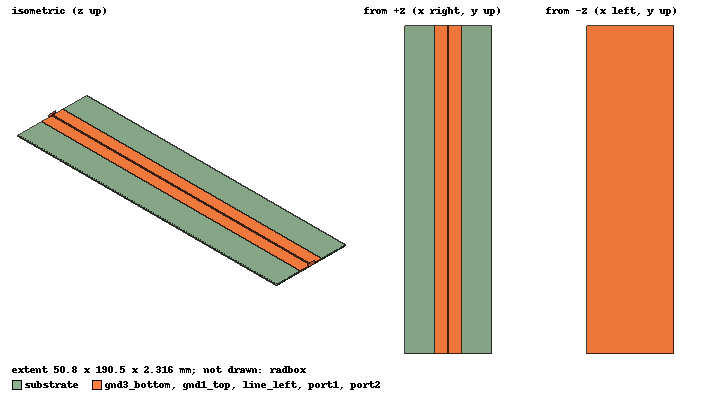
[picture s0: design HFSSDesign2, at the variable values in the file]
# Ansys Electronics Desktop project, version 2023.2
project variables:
  $w = 50.8mm
  $l = 190.5mm
  $w_lin = 0.53789169mm  # optimise 0.52mm..1.56mm
  $h_sig = 0.03556mm
  $w_gnd_top = 7.5mm
  $d = 0.11434763mm  # optimise 0.2mm..0.6mm
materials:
  vacuum: permittivity=1
  FR4_epoxy: permittivity=4.4 dielectric_loss_tangent=0.02
  air: permittivity=1.0006 permeability=1.0000004
  rhodium: conductivity=22200000
  Rogers RO4350 (tm): permittivity=3.66 dielectric_loss_tangent=0.004
  copper: permeability=0.999991 conductivity=58000000

design HFSSDesign2 (HFSS, HFSS Modal Network, model units mm)
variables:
  w = 50.8mm
  l = 190.5mm
  h_sub = 0.508mm
  h_gnd3 = 0.03556mm
  w_lin = 1.04mm
  h_sig = 0.03556mm
  w_gnd_top = 7.5mm
  h_ges = h_gnd3+h_sig+h_sub
  pos_gnd1 = w/2-$w_lin/2-$d-w_gnd_top
  pos_lin = w/2-$w_lin/2
  pos_gnd2 = w/2+$w_lin/2+$d
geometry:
  radbox [air] = box(corner=(-15mm, 0mm, -15mm), size=(w+30mm, l, h_ges+30mm))
  gnd3_bottom [copper] = box(corner=(0mm, 0mm, 0mm), size=(w, l, h_gnd3))
  substrate [Rogers RO4350 (tm)] = box(corner=(0mm, 0mm, h_gnd3), size=(w, l, h_sub))
  line_left [copper] = box(corner=(pos_lin, 0mm, h_gnd3+h_sub), size=($w_lin, 9.3747mm, h_sig))
  gnd1_top [copper] = box(corner=(pos_gnd1, 0mm, h_gnd3+h_sub), size=(w_gnd_top, l, h_sig))
  gnd2_top = box(corner=(pos_gnd2, 0mm, h_gnd3+h_sub), size=(w_gnd_top, l, h_sig))
  port1 = rectangle(corner=(w/2-$w_lin*5, 0mm, 0mm), z_size=h_ges*4, x_size=$w_lin*10)
  port2 = rectangle(corner=(w/2-$w_lin*5, l, 0mm), z_size=h_ges*4, x_size=$w_lin*10)
  gnd1_top.unite(gnd2_top)
  via1 [copper] = cylinder(axis=Z, base_centre=(23.32mm, 2mm, h_gnd3), radius=0.2mm, height=h_sub)
  via1_1..via1_78 [copper] = via1.duplicate_along_line(step=(0mm, 2.4mm, 0mm), total=300)  # copies kept: 1..78
  via2 [copper] = cylinder(axis=Z, base_centre=(27.48mm, 2mm, h_gnd3), radius=0.2mm, height=h_sub)
  via2_1..via2_78 [copper] = via2.duplicate_along_line(step=(0mm, 2.4mm, 0mm), total=79)
  trans_mid_left = polyline(z=h_gnd3+h_sub, xy in mm: (25.66895, 9.3747) (25.575, 9.48544) (25.225, 9.48544) (25.13105, 9.3747) (25.66895, 9.3747), closed, covered)
  line_right = box(corner=(pos_lin, 9.59618mm, h_gnd3+h_sub), size=($w_lin, l-9.59618mm, h_sig))
  trans_mid_left.thicken(h_sig)
  trans_mid_right = polyline(z=h_gnd3+h_sub, xy in mm: (25.66895, 9.3747) (25.575, 9.48544) (25.225, 9.48544) (25.13105, 9.3747) (25.66895, 9.3747), closed, covered)
  trans_mid_right.thicken(h_sig)
  trans_mid_right.mirror(point=(25.131054mm, 9.3747mm, 0.57912mm), normal=(0mm, 1mm, 0mm))
  trans_mid_right.move(0mm, 4.65134mm, 0mm)
  trans_top_left = polyline(z=h_gnd3+h_sub, xy in mm: (25.07496, 9.48545) (25.01675, 9.4132) (25.01675, 9.48545) (25.07496, 9.48545), closed, covered)
  trans_top_left.thicken(-h_sig)
  trans_bot_left = polyline(z=h_gnd3+h_sub, xy in mm: (25.07496, 9.48545) (25.01675, 9.4132) (25.01675, 9.48545) (25.07496, 9.48545), closed, covered)
  trans_bot_left.thicken(-h_sig)
  trans_bot_left.mirror(point=(25.01675mm, 9.48545mm, 0.57912mm), normal=(1mm, -6.952473e-15mm, 0mm))
  trans_bot_left.move(0.7665mm, -5.3290705e-15mm, 0mm)
  trans_bot_right = polyline(z=h_gnd3+h_sub, xy in mm: (25.07496, 9.48545) (25.01675, 9.4132) (25.01675, 9.48545) (25.07496, 9.48545), closed, covered)
  trans_bot_right.thicken(-h_sig)
  trans_bot_right.mirror(point=(25.01675mm, 9.48545mm, 0.57912mm), normal=(1mm, -6.952473e-15mm, 0mm))
  trans_bot_right.move(0.7665mm, -5.3290705e-15mm, 0mm)
  trans_bot_right.mirror(point=(25.78325mm, 9.48545mm, 0.57912mm), normal=(0mm, 1mm, 0mm))
  trans_bot_right.move(0mm, 4.42985mm, 0mm)
  trans_top_right = polyline(z=h_gnd3+h_sub, xy in mm: (25.07496, 9.48545) (25.01675, 9.4132) (25.01675, 9.48545) (25.07496, 9.48545), closed, covered)
  trans_top_right.thicken(-h_sig)
  trans_top_right.mirror(point=(25.01675mm, 9.48545mm, 0.57912mm), normal=(0mm, 1mm, 0mm))
  trans_top_right.move(0mm, 4.42985mm, 0mm)
  trans_mid_right.move(0mm, -4.42986mm, 0mm)
  [trans_top_right, trans_bot_right].move(0mm, -4.42985mm, 0mm)
  trans_top_left.move(0.04325mm, -0.13545mm, 0.00088mm)
  trans_top_right.move(0.06325mm, 0.15455mm, 0.00088mm)
  trans_top_left.move(-0.043293478mm, 0.13545mm, -0.00088mm)
  trans_top_right.move(-0.063293478mm, -0.15455mm, -0.00088mm)
  trans_bot_left.move(-0.02504mm, -0.33545mm, 0.02088mm)
  trans_bot_right.move(-0.02504mm, 0.36455mm, 0.02088mm)
  trans_bot_right.move(0.025087631mm, -0.36455mm, -0.02088mm)
  trans_bot_left.move(0.025087631mm, 0.33545mm, -0.02088mm)
  line_left.unite(trans_mid_right, trans_mid_left, line_right)
  gnd1_top.unite(trans_top_left, trans_top_right, trans_bot_left, trans_bot_right)
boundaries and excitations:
  Rad1: Radiation Objects=radbox
  1: Wave Port Objects=port1 WavePortType=Modal NumModes=1 Modes{Mode1{CharImp=Zpi RenormImp=50ohm}}
  2: Wave Port Objects=port2 WavePortType=Modal NumModes=1 Modes{Mode1{CharImp=Zpi RenormImp=50ohm}}
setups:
  Setup1: HfssDriven Frequency=10GHz MaxDeltaS=0.02 MaximumPasses=20 MinimumPasses=1 MinimumConvergedPasses=1 PercentRefinement=30 BasisOrder=1 PortAccuracy=2 DrivenSolverType="Direct Solver"
    sweep Sweep_fast: 10GHz to 20GHz step 0.3GHz; Type=Discrete
    sweep Sweep: 1GHz to 20GHz step 0.1GHz; Type=Discrete
    sweep Sweep_fine: 0.01GHz to 20GHz step 0.01GHz; Type=Discrete
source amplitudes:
  1:1: 1W 0deg
  2:1: 0W 0deg
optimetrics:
  OptimizationSetup2: Optimization Optimizer="Quasi Newton" AnalysisStopOptions{StopForNumIteration MaxNumIteration=1000 MinNumIteration=10} CostFuncNormType=L2 Acceptable_Cost=0 Noise=0.0001 UpdateDesignWhenDone
    vary $d: Min=0.1mm Max=0.6mm MinStep=0.004mm MaxStep=0.04mm MinFocus=0.2mm MaxFocus=0.6mm start=0.125mm
    vary $w_lin: Min=0.3556mm Max=1.56mm MinStep=0.0104mm MaxStep=0.104mm MinFocus=0.52mm MaxFocus=1.56mm start=0.56704mm
    goal dB(S(1,1)) <= -30 weight 0.5 on Setup1 : Sweep_fast at Freq 1GHz to 20GHz
    goal dB(S(2,2)) <= -30 weight 0.5 on Setup1 : Sweep_fast at Freq 1GHz to 20GHz
    goal mag(Zo(1)) == 50 weight 1 on Setup1 : Sweep_fast at Freq 10GHz to 19.9GHz
    goal re(Zo(2)) == 50 weight 1 on Setup1 : Sweep_fast at Freq 10GHz to 19.9GHz
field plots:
  Mag_E1: E Field in substrate on Setup1 : LastAdaptive at Freq=10GHz Phase=0deg
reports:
  S Parameter Plot 1: dB(S(1,1)), dB(S(2,1)), dB(S(1,2)), dB(S(2,2)) vs Freq on Setup1 : Sweep [w_gnd_top=all]
  Port Zo Plot 1: mag(Zo(1)), mag(Zo(2)) vs Freq on Setup1 : Sweep [w_gnd_top=all]
  S Parameter fine: dB(S(1,1)), dB(S(2,1)), dB(S(1,2)), dB(S(2,2)) vs Freq on Setup1 : Sweep_fine
